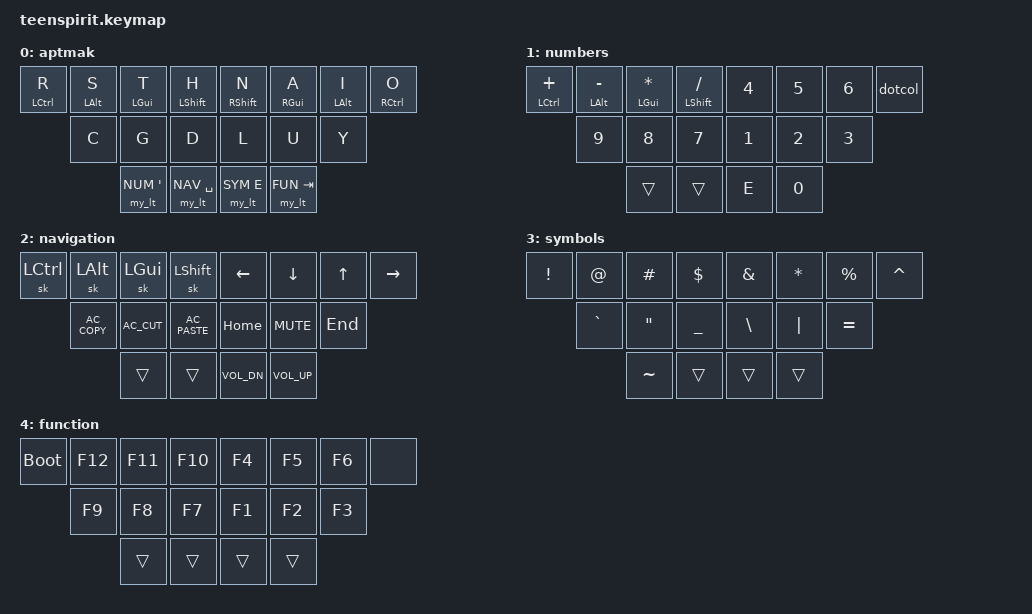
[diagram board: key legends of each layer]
#include <behaviors.dtsi>
#include <dt-bindings/zmk/keys.h>

#define APT 0
#define NUM 1
#define NAV 2
#define SYM 3
#define FUN 4


&caps_word {
    continue-list = <UNDERSCORE MINUS BSPC LSHFT RSHFT>;
};

/ {
    macros {
        macro_shiftable_sch: macro_shiftable_sch {
            compatible = "zmk,behavior-macro";
            #binding-cells = <0>;
            bindings = <
                    &macro_tap &kp S
                    &macro_release &kp RSHIFT
                    &macro_tap &kp C &kp H
            >;
            tap-ms = <10>;
        };
    };
};


#define COMBO(NAME, BINDINGS, KEYPOS) \
combo_##NAME { \
    timeout-ms = <20>; \
    bindings = <BINDINGS>; \
    key-positions = <KEYPOS>; \
};
#define SLOWCOMBO(NAME, BINDINGS, KEYPOS) \
combo_##NAME { \
    timeout-ms = <40>; \
    bindings = <BINDINGS>; \
    key-positions = <KEYPOS>; \
};
#define TCOMBO(NAME, BINDINGS, KEYPOS, TIMEOUT) \
combo_##NAME { \
    timeout-ms = <TIMEOUT>; \
    bindings = <BINDINGS>; \
    key-positions = <KEYPOS>; \
};

#define COMBOS_TOP_ROW(LTPR, LTRM, LTMI, RTIM, RTMR, RTRP) \
	SLOWCOMBO(_ltpr, LTPR, 0 1) \
	COMBO(_ltrm, LTRM, 1 2) \
	COMBO(_ltmi, LTMI, 2 3) \
	COMBO(_rtim, RTIM, 4 5) \
	COMBO(_rtmr, RTMR, 5 6) \
	SLOWCOMBO(_rtrp, RTRP, 6 7)
#define COMBOS_BOT_ROW(LBRM, LBMI, RBIM, RBMR) \
	COMBO(_lbrm, LBRM, 8 9) \
	COMBO(_lbmi, LBMI, 9 10) \
	COMBO(_rbim, RBIM, 11 12) \
	COMBO(_rbmr, RBMR, 12 13)


//  _______________________  _______________________
// |  0  |  1  |  2  |  3  \/   4 |   5 |   6 |   7 |
//       \  8  |  9  | 10  /\  11 |  12 |  13 /
//             \ 14  | 15 /  \ 16 |  17 /
//              ----------    ----------

/{
    combos {
        compatible = "zmk,combos";
/* alphas */
                     //  0+1    1+2    2+3    4+5      5+6      6+7
        COMBOS_TOP_ROW(&kp W, &kp M, &kp B, &kp V, &comsem, &dotcol)
               COMBOS_BOT_ROW(&kp F, &kp P, &kp X, &kp Z)
                            //  8+9   9+10  11+12  12+13

/* usually on base layer */
        COMBO(q, &kp Q, 8 10)
        COMBO(k, &kp K, 2 10)
        COMBO(j, &kp J, 5 11)
        COMBO(shiftablesch, &macro_shiftable_sch, 1 3)
        COMBO(enter, &kp ENTER, 11 13)
        COMBO(esc, &kp ESC, 0 3)
        COMBO(semi, &kp SEMICOLON, 12 16)
        COMBO(colon, &kp COLON, 13 16)
        COMBO(minus, &kp MINUS, 1 9)
        COMBO(slash, &kp SLASH, 6 12)
/* parentheticals */
        COMBO(lt, &kp LT, 1 10)
        COMBO(lbrc, &kp LBRC, 1 8)
        COMBO(lbkt, &kp LBKT, 2 9)
        COMBO(lpar, &kp LPAR, 3 10)
        COMBO(rt, &kp GT, 6 11)
        COMBO(rpar, &kp RPAR, 4 11)
        COMBO(rbkt, &kp RBKT, 5 12)
        COMBO(rbrc, &kp RBRC, 6 13)
/* caps */
        COMBO(caps, &caps_word, 3 4)
        COMBO(capslock, &kp CAPSLOCK, 1 6)
/* deletion */
        COMBO(bspc, &kp BSPC, 4 6)
        SLOWCOMBO(del, &kp DEL, 5 7)
        COMBO(delword, &kp LC(BSPC), 4 7)
    };
};

//  _______________________  _______________________
// |  0  |  1  |  2  |  3  \/   4 |   5 |   6 |   7 |
//       \  8  |  9  | 10  /\  11 |  12 |  13 /
//             \ 14  | 15 /  \ 16 |  17 /
//              ----------    ----------


/ {
    behaviors {
        hl: homerow_mods_left {
            compatible = "zmk,behavior-hold-tap";
            #binding-cells = <2>;
            flavor = "balanced";
            tapping-term-ms = <150>;
            quick-tap-ms = <100>;
            bindings = <&kp>, <&kp>;
            // opposite side hand keys
            hold-trigger-key-positions = <4 5 6 7 11 12 13 14 15 16 17>;
        };
        hr: homerow_mods_right {
            compatible = "zmk,behavior-hold-tap";
            #binding-cells = <2>;
            flavor = "balanced";
            tapping-term-ms = <150>;
            quick-tap-ms = <100>;
            bindings = <&kp>, <&kp>;
            // opposite side hand keys
            hold-trigger-key-positions = <0 1 2 3 8 9 10 14 15 16 17>;
        };

        my_lt: my_layer_taps {
            compatible = "zmk,behavior-hold-tap";
            #binding-cells = <2>;
            flavor = "tap-preferred";
            tapping-term-ms = <160>;
            quick-tap-ms = <100>;
            bindings = <&mo &kp>, <&kp>;
        };
        dotcol: dot_colon {
            compatible = "zmk,behavior-mod-morph";
            #binding-cells = <0>;
            bindings = <&kp DOT>, <&kp COLON>;
            mods = <(MOD_LSFT|MOD_RSFT)>;
        };
        comsem: comma_semicolon {
            compatible = "zmk,behavior-mod-morph";
            #binding-cells = <0>;
            bindings = <&kp COMMA>, <&kp SEMI>;
            mods = <(MOD_LSFT|MOD_RSFT)>;
        };
    };
};


/ {
    keymap {
        compatible = "zmk,keymap";

        aptmak {
            bindings = <
                &hl LCTRL R    &hl LALT S     &hl LGUI T     &hl LSHFT H        &hr RSHFT N    &hr RGUI A     &hr LALT I     &hr RCTRL O
                               &kp C          &kp G          &kp D              &kp L          &kp U          &kp Y
                                              &my_lt NUM SQT &my_lt NAV SPACE   &my_lt SYM E   &my_lt FUN TAB
            >;
        };
        numbers {
            bindings = <
                &hl LCTRL PLUS &hl LALT MINUS &hl LGUI STAR  &hl LSHFT SLASH    &kp N4         &kp N5         &kp N6         &dotcol
                               &kp N9         &kp N8         &kp N7             &kp N1         &kp N2         &kp N3
                                              &trans         &trans             &kp E          &kp N0
            >;
        };
        navigation {
            bindings = <
                &sk LCTRL      &sk LALT       &sk LGUI       &sk LSHFT          &kp LEFT       &kp DOWN       &kp UP         &kp RIGHT
                               &kp C_AC_COPY  &kp C_AC_CUT   &kp C_AC_PASTE     &kp HOME       &kp C_MUTE     &kp END
                                              &trans         &trans             &kp C_VOL_DN   &kp C_VOL_UP
            >;
        };
        symbols {
            bindings = <
                &kp EXCL       &kp AT         &kp HASH       &kp DOLLAR         &kp AMPERSAND  &kp ASTERISK   &kp PERCENT    &kp CARET
                               &kp GRAVE      &kp DQT        &kp UNDERSCORE     &kp BACKSLASH  &kp PIPE       &kp EQUAL
                                              &kp TILDE      &trans             &trans         &trans
            >;
        };
        function {
            bindings = <
                &bootloader    &kp F12        &kp F11        &kp F10            &kp F4         &kp F5         &kp F6         &none
                               &kp F9         &kp F8         &kp F7             &kp F1         &kp F2         &kp F3
                                              &trans         &trans             &trans         &trans
            >;
        };

    };
};
